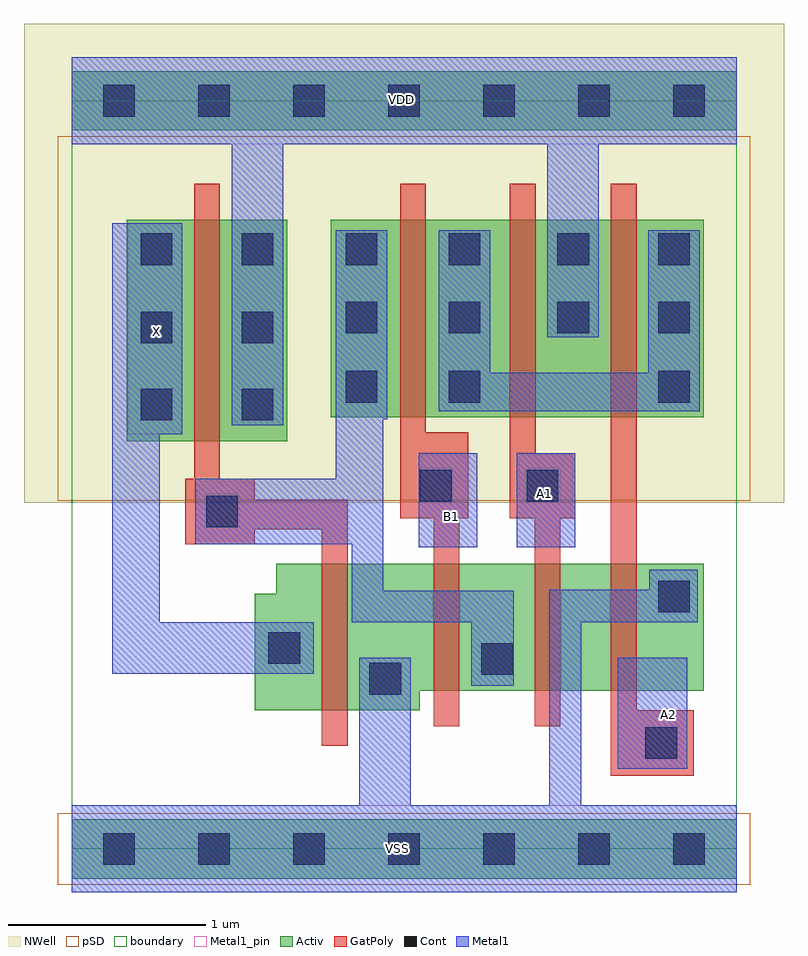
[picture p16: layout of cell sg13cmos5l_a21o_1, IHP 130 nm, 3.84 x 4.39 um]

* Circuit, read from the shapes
.subckt sg13cmos5l_a21o_1 A1 A2 B1 VDD VSS X
XM1 VSS n1 X VSS sg13_lv_nmos w=0.74u l=0.13u
XM2 n1 B1 VSS VSS sg13_lv_nmos w=0.64u l=0.13u
XM3 n2 A1 n1 VSS sg13_lv_nmos w=0.64u l=0.13u
XM4 VSS A2 n2 VSS sg13_lv_nmos w=0.64u l=0.13u
XM5 VDD n1 X VDD sg13_lv_pmos w=1.12u l=0.13u
XM6 n3 B1 n1 VDD sg13_lv_pmos w=1u l=0.13u
XM7 VDD A1 n3 VDD sg13_lv_pmos w=1u l=0.13u
XM8 n3 A2 VDD VDD sg13_lv_pmos w=1u l=0.13u
.ends

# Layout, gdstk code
import gdstk
lib = gdstk.Library(unit=1e-6, precision=1e-09)
def R(c, l, rs):  # rectangles x0, y0, x1, y1
    for r in rs: c.add(gdstk.rectangle(r[:2], r[2:], *l))
def A(c, l, x, y, w, h, nx, ny, dx, dy):  # array of equal rectangles
    R(c, l, [(x+i*dx, y+j*dy, x+i*dx+w, y+j*dy+h) for i in range(nx) for j in range(ny)])
def P(c, l, *ps):  # polygons
    for p in ps: c.add(gdstk.Polygon(p, *l))
Activ = (1, 0)
GatPoly = (5, 0)
Cont = (6, 0)
Metal1 = (8, 0)
Metal1_pin = (8, 2)
pSD = (14, 0)
NWell = (31, 0)
boundary = (189, 4)

sg13cmos5l_a21o_1 = lib.new_cell('sg13cmos5l_a21o_1')
R(sg13cmos5l_a21o_1, Activ, [(0,-0.15,3.36,0.15), (0.28,2.06,1.09,3.18), (1.31,2.18,3.195,3.18), (0,3.63,3.36,3.93)])
P(sg13cmos5l_a21o_1, Activ, [(0.925,0.7),(0.925,1.29),(1.035,1.29),(1.035,1.44),(3.195,1.44),(3.195,0.8),(1.76,0.8),(1.76,0.7)])
P(sg13cmos5l_a21o_1, GatPoly, [(1.265,0.52),(1.265,1.615),(0.925,1.615),(0.925,1.54),(0.575,1.54),(0.575,1.87),(0.62,1.87),(0.62,3.36),(0.75,3.36),(0.75,1.87),(0.925,1.87),(0.925,1.765),(1.395,1.765),(1.395,0.52)],
  [(1.83,0.62),(1.83,1.67),(1.66,1.67),(1.66,3.36),(1.79,3.36),(1.79,2.105),(2.005,2.105),(2.005,1.67),(1.96,1.67),(1.96,0.62)],
  [(2.34,0.62),(2.34,1.67),(2.215,1.67),(2.215,3.36),(2.345,3.36),(2.345,2),(2.545,2),(2.545,1.67),(2.47,1.67),(2.47,0.62)],
  [(2.725,0.37),(2.725,3.36),(2.855,3.36),(2.855,0.7),(3.145,0.7),(3.145,0.37)])
A(sg13cmos5l_a21o_1, Cont, 0.16, -0.08, 0.16, 0.16, 7, 2, 0.48, 3.78)
R(sg13cmos5l_a21o_1, Cont, [(2.9,0.455,3.06,0.615), (1.505,0.78,1.665,0.94), (2.07,0.88,2.23,1.04), (0.995,0.935,1.155,1.095), (2.965,1.195,3.125,1.355), (0.68,1.625,0.84,1.785), (1.76,1.755,1.92,1.915), (2.3,1.755,2.46,1.915), (0.35,2.165,0.51,2.325), (0.86,2.165,1.02,2.325), (1.385,2.255,1.545,2.415), (1.905,2.255,2.065,2.415), (2.965,2.255,3.125,2.415), (0.35,2.555,0.51,2.715), (0.86,2.555,1.02,2.715), (1.385,2.605,1.545,2.765), (1.905,2.605,2.065,2.765), (2.455,2.605,2.615,2.765), (2.965,2.605,3.125,2.765), (0.35,2.95,0.51,3.11), (0.86,2.95,1.02,3.11), (1.385,2.95,1.545,3.11), (1.905,2.95,2.065,3.11), (2.455,2.95,2.615,3.11), (2.965,2.95,3.125,3.11)])
R(sg13cmos5l_a21o_1, Metal1, [(2.76,0.405,3.11,0.965), (1.755,1.525,2.05,2), (2.25,1.525,2.545,2)])
P(sg13cmos5l_a21o_1, Metal1, [(0.205,0.885),(0.205,3.16),(0.56,3.16),(0.56,2.095),(0.445,2.095),(0.445,1.145),(1.225,1.145),(1.225,0.885)],
  [(2.02,0.825),(2.02,1.145),(1.415,1.145),(1.415,1.54),(0.625,1.54),(0.625,1.87),(1.335,1.87),(1.335,3.125),(1.595,3.125),(1.595,2.17),(1.575,2.17),(1.575,1.305),(2.235,1.305),(2.235,0.825)],
  [(1.855,2.21),(1.855,3.125),(2.115,3.125),(2.115,2.405),(2.915,2.405),(2.915,3.125),(3.175,3.125),(3.175,2.21)],
  [(0.81,2.14),(0.81,3.56),(0,3.56),(0,4),(3.36,4),(3.36,3.56),(2.665,3.56),(2.665,2.585),(2.405,2.585),(2.405,3.56),(1.07,3.56),(1.07,2.14)],
  [(0,-0.22),(0,0.22),(1.455,0.22),(1.455,0.965),(1.715,0.965),(1.715,0.22),(2.415,0.22),(2.415,1.31),(2.92,1.31),(2.92,1.41),(3.165,1.41),(3.165,1.145),(2.575,1.145),(2.575,0.22),(3.36,0.22),(3.36,-0.22)])
R(sg13cmos5l_a21o_1, Metal1_pin, [(0,-0.22,3.36,0.22), (2.76,0.405,3.11,0.965), (1.755,1.525,2.05,2), (2.25,1.525,2.545,2), (0.285,2.095,0.56,3.16), (0,3.56,3.36,4)])
R(sg13cmos5l_a21o_1, pSD, [(-0.07,-0.18,3.43,0.18), (-0.07,1.76,3.43,3.6)])
R(sg13cmos5l_a21o_1, NWell, [(-0.24,1.75,3.6,4.17)])
R(sg13cmos5l_a21o_1, boundary, [(0,0,3.36,3.78)])
sg13cmos5l_a21o_1.add(gdstk.Label('B1', (1.92,1.68), layer=8, texttype=25))
sg13cmos5l_a21o_1.add(gdstk.Label('X', (0.43,2.615), layer=8, texttype=25))
sg13cmos5l_a21o_1.add(gdstk.Label('VDD', (1.665,3.785), layer=8, texttype=25))
sg13cmos5l_a21o_1.add(gdstk.Label('VSS', (1.645,0), layer=8, texttype=25))
sg13cmos5l_a21o_1.add(gdstk.Label('A1', (2.39,1.795), layer=8, texttype=25))
sg13cmos5l_a21o_1.add(gdstk.Label('A2', (3.015,0.68), layer=8, texttype=25))

lib.write_gds('sg13cmos5l_a21o_1.gds')
